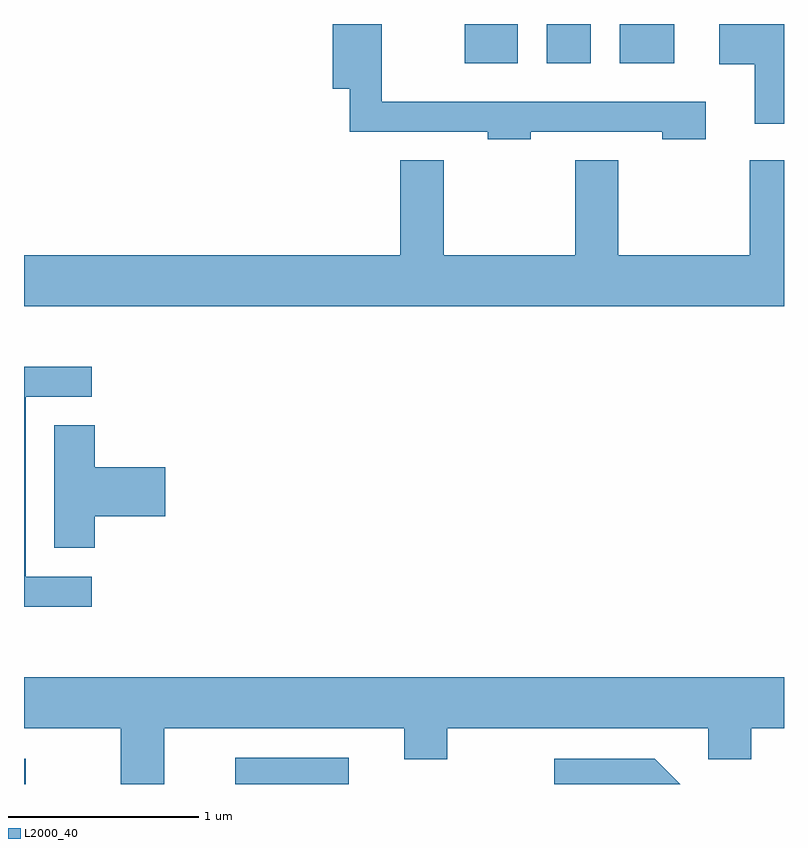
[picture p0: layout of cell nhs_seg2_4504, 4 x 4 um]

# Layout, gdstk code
import gdstk
lib = gdstk.Library(unit=1e-6, precision=1e-09)
def R(c, l, rs):  # rectangles x0, y0, x1, y1
    for r in rs: c.add(gdstk.rectangle(r[:2], r[2:], *l))
def P(c, l, *ps):  # polygons
    for p in ps: c.add(gdstk.Polygon(p, *l))
L2000_40 = (2000, 40)

nhs_seg2_4504 = lib.new_cell('nhs_seg2_4504')
R(nhs_seg2_4504, L2000_40, [(317.611,1045.802,317.619,1045.934), (318.723,1045.802,319.319,1045.939), (319.931,1049.596,320.209,1049.802), (320.361,1049.596,320.594,1049.802), (320.746,1049.596,321.034,1049.802)])
P(nhs_seg2_4504, L2000_40, [(320.279,1049.236),(320.971,1049.236),(320.971,1049.196),(321.199,1049.196),(321.199,1049.394),(319.494,1049.394),(319.494,1049.802),(319.236,1049.802),(319.236,1049.461),(319.326,1049.461),(319.326,1049.236),(320.051,1049.236),(320.051,1049.196),(320.279,1049.196)],
  [(321.611,1049.802),(321.271,1049.802),(321.271,1049.591),(321.456,1049.591),(321.456,1049.276),(321.611,1049.276)],
  [(321.611,1049.084),(321.431,1049.084),(321.431,1048.584),(320.739,1048.584),(320.739,1049.084),(320.511,1049.084),(320.511,1048.584),(319.819,1048.584),(319.819,1049.084),(319.591,1049.084),(319.591,1048.584),(317.611,1048.584),(317.611,1048.316),(321.611,1048.316)],
  [(317.968,1046.894),(317.619,1046.894),(317.619,1047.841),(317.968,1047.841),(317.968,1047.999),(317.611,1047.999),(317.611,1046.736),(317.968,1046.736)],
  [(317.984,1047.211),(318.354,1047.211),(318.354,1047.469),(317.984,1047.469),(317.984,1047.689),(317.771,1047.689),(317.771,1047.046),(317.984,1047.046)],
  [(318.349,1046.096),(319.611,1046.096),(319.611,1045.931),(319.839,1045.931),(319.839,1046.096),(321.211,1046.096),(321.211,1045.931),(321.439,1045.931),(321.439,1046.096),(321.611,1046.096),(321.611,1046.364),(317.611,1046.364),(317.611,1046.096),(318.121,1046.096),(318.121,1045.802),(318.349,1045.802)],
  [(320.932,1045.934),(320.403,1045.934),(320.403,1045.802),(321.064,1045.802)])

lib.write_gds('nhs_seg2_4504.gds')
